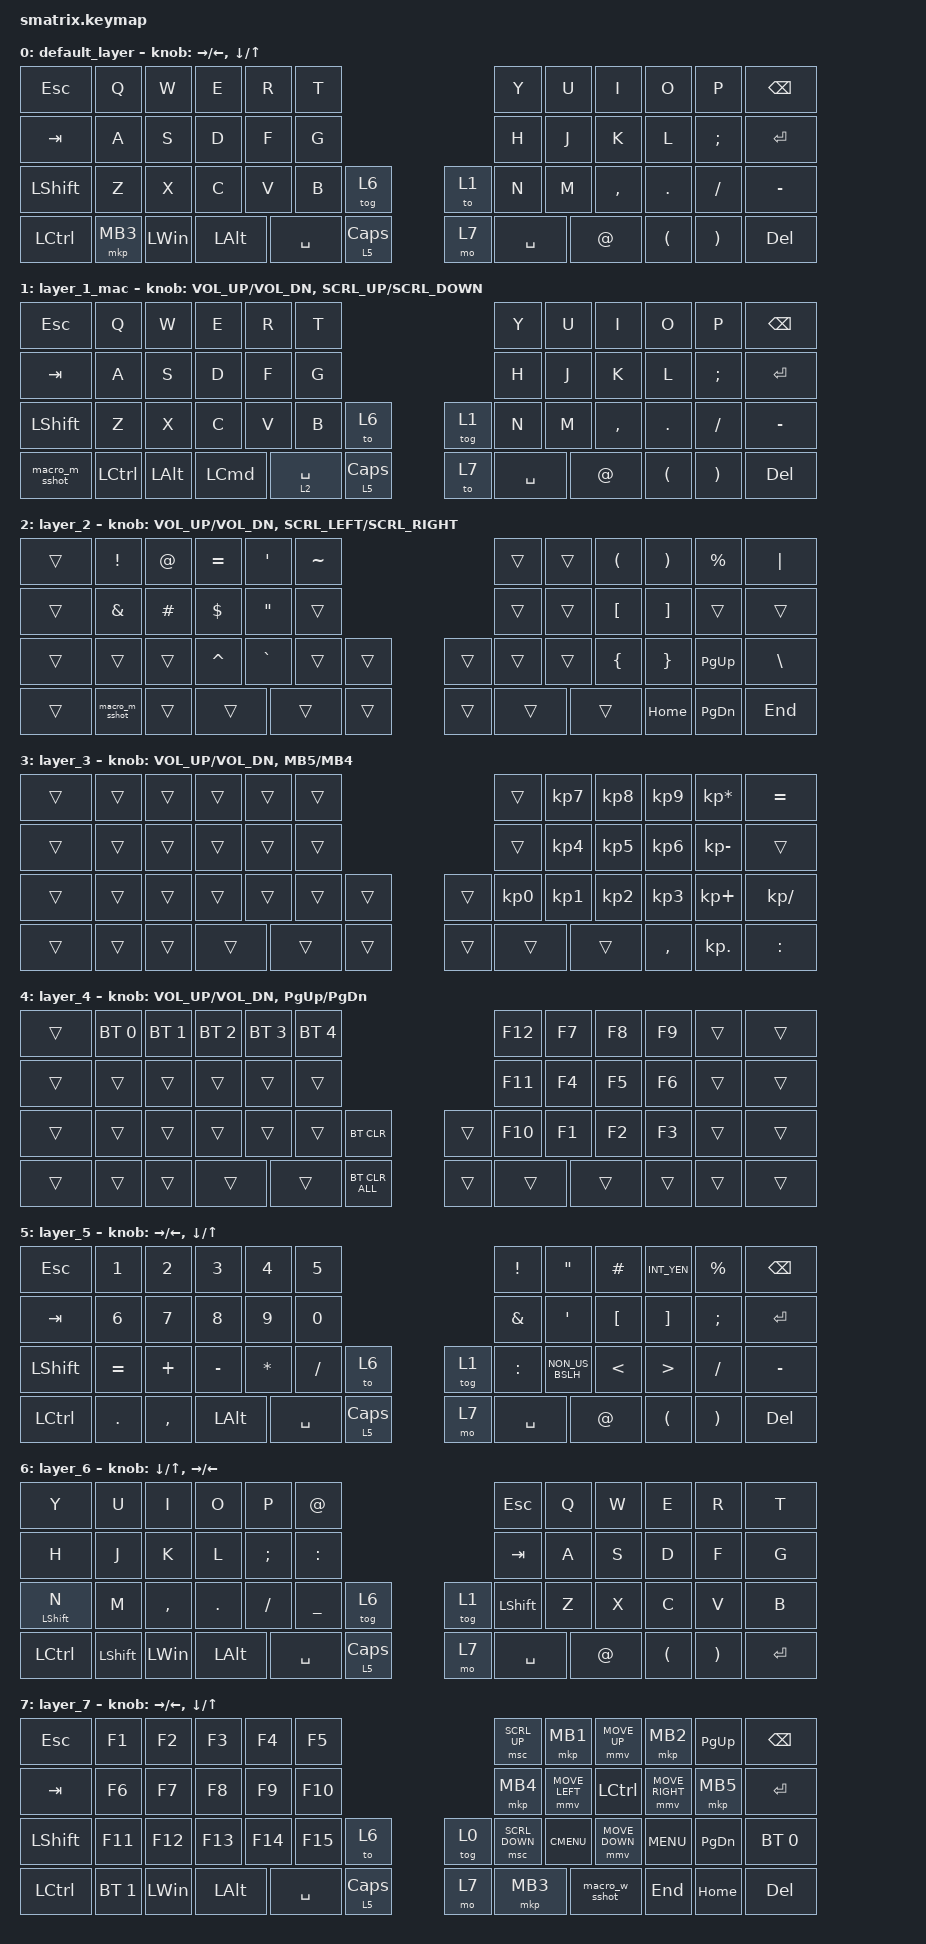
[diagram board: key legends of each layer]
#define ZMK_POINTING_DEFAULT_MOVE_VAL 800
#define ZMK_POINTING_DEFAULT_SCRL_VAL 120

#include <input/processors.dtsi>
#include <zephyr/dt-bindings/input/input-event-codes.h>
#include <behaviors.dtsi>
#include <dt-bindings/zmk/bt.h>
#include <dt-bindings/zmk/keys.h>
#include <dt-bindings/zmk/pointing.h>

&mt {
    flavor = "balanced";
    quick-tap-ms = <0>;
};

&msc {
    delay-ms = <0>;
    trigger-period-ms = <10>;
    time-to-max-speed-ms = <0>;
    acceleration-exponent = <0>;
};

/ {
    input_processors {
        zip_wheel_scaler: zip_wheel_scaler {
            compatible = "zmk,input-processor-scaler";
            #input-processor-cells = <2>;
            type = <INPUT_EV_REL>;
            codes = <INPUT_REL_WHEEL>;
            track-remainders;
        };
    };
};

&msc_input_listener {
    warp {
        layers = <0>;
        input-processors = <&zip_wheel_scaler 4 1>;
    };

    precision {
        layers = <1>;
        input-processors = <&zip_wheel_scaler 1 2>;
    };
};

/ {
    behaviors {
        rot_kp: sensor_rotate_kp {
            compatible = "zmk,behavior-sensor-rotate-var";
            #sensor-binding-cells = <2>;
            bindings = <&kp>, <&kp>;
        };

        mouse_click: mouse_button_kp {
            compatible = "zmk,behavior-sensor-rotate-var";
            #sensor-binding-cells = <2>;
            bindings = <&mkp>, <&mkp>;
        };

        mouse_scrl: mouse_wheel_scrl {
            compatible = "zmk,behavior-sensor-rotate-var";
            #sensor-binding-cells = <2>;
            bindings = <&msc>, <&msc>;

            tap-ms = <10>;
        };

        macro_w_sshot: macro_w_sshot {
            compatible = "zmk,behavior-macro";
            label = "Win Screenshot Macro";
            #binding-cells = <0>;
            bindings =
                <&macro_press>,
                <&kp LGUI &kp LSHFT>,
                <&macro_tap>,
                <&kp S>,
                <&macro_release>,
                <&kp LGUI &kp LSHFT>;
        };

        macro_m_sshot: macro_m_sshot {
            compatible = "zmk,behavior-macro";
            label = "Mac Screenshot Macro";
            #binding-cells = <0>;
            bindings =
                <&macro_press>,
                <&kp LGUI &kp LSHFT>,
                <&macro_tap>,
                <&kp N4>,
                <&macro_release>,
                <&kp LGUI &kp LSHFT>,
                <&macro_press>;
        };

        macro_w_TMute: macro_w_TMute {
            compatible = "zmk,behavior-macro";
            label = "Win Teams Mic Mute";
            #binding-cells = <0>;
            bindings =
                <&macro_press>,
                <&kp LGUI &kp LALT>,
                <&macro_tap>,
                <&kp K>,
                <&macro_release>,
                <&kp LGUI &kp LALT>;
        };
    };

    macros {
    };

    keymap {
        compatible = "zmk,keymap";

        default_layer {
            bindings = <
&kp ESC           &kp Q     &kp W         &kp E         &kp R      &kp T                        &kp Y  &kp U      &kp I        &kp O       &kp P                  &kp BACKSPACE
&kp TAB           &kp A     &kp S         &kp D         &kp F      &kp G                        &kp H  &kp J      &kp K        &kp L       &kp SEMI               &kp ENTER
&kp LSHFT         &kp Z     &kp X         &kp C         &kp V      &kp B       &tog 6    &to 1  &kp N  &kp M      &kp COMMA    &kp PERIOD  &kp SLASH              &kp MINUS
&kp LEFT_CONTROL  &mkp MB3  &kp LEFT_WIN  &kp LEFT_ALT  &kp SPACE  &lt 5 CAPS                   &mo 7  &kp SPACE  &kp AT_SIGN  &kp LPAR    &kp RIGHT_PARENTHESIS  &kp DELETE
            >;

            sensor-bindings =
                <&rot_kp RIGHT LEFT>,
                <&rot_kp DOWN_ARROW UP_ARROW>;
        };

        layer_1_mac {
            bindings = <
&kp ESCAPE      &kp Q             &kp W         &kp E             &kp R        &kp T                        &kp Y  &kp U      &kp I        &kp O                 &kp P                  &kp BACKSPACE
&kp TAB         &kp A             &kp S         &kp D             &kp F        &kp G                        &kp H  &kp J      &kp K        &kp L                 &kp SEMI               &kp ENTER
&kp LSHFT       &kp Z             &kp X         &kp C             &kp V        &kp B       &to 6    &tog 1  &kp N  &kp M      &kp COMMA    &kp PERIOD            &kp SLASH              &kp MINUS
&macro_m_sshot  &kp LEFT_CONTROL  &kp LEFT_ALT  &kp LEFT_COMMAND  &lt 2 SPACE  &lt 5 CLCK                   &to 7  &kp SPACE  &kp AT_SIGN  &kp LEFT_PARENTHESIS  &kp RIGHT_PARENTHESIS  &kp DEL
            >;

            sensor-bindings = <&rot_kp C_VOL_UP C_VOL_DN    &mouse_scrl SCRL_UP SCRL_DOWN>;
        };

        layer_2 {
            bindings = <
&trans  &kp EXCL        &kp AT    &kp EQUAL   &kp APOS   &kp TILDE                    &trans  &trans  &kp LPAR  &kp RPAR  &kp PERCENT  &kp PIPE
&trans  &kp AMPS        &kp HASH  &kp DOLLAR  &kp DQT    &trans                       &trans  &trans  &kp LBKT  &kp RBKT  &trans       &trans
&trans  &trans          &trans    &kp CARET   &kp GRAVE  &trans     &trans    &trans  &trans  &trans  &kp LBRC  &kp RBRC  &kp PG_UP    &kp BSLH
&trans  &macro_m_sshot  &trans    &trans      &trans     &trans                       &trans  &trans  &trans    &kp HOME  &kp PG_DN    &kp END
            >;

            sensor-bindings = <&rot_kp C_VOL_UP C_VOL_DN    &mouse_scrl SCRL_LEFT SCRL_RIGHT>;
        };

        layer_3 {
            bindings = <
&trans  &trans  &trans  &trans  &trans  &trans                    &trans     &kp KP_N7  &kp KP_N8  &kp KP_N9  &kp KP_ASTERISK  &kp EQUAL
&trans  &trans  &trans  &trans  &trans  &trans                    &trans     &kp KP_N4  &kp KP_N5  &kp KP_N6  &kp KP_MINUS     &trans
&trans  &trans  &trans  &trans  &trans  &trans  &trans    &trans  &kp KP_N0  &kp KP_N1  &kp KP_N2  &kp KP_N3  &kp KP_PLUS      &kp KP_SLASH
&trans  &trans  &trans  &trans  &trans  &trans                    &trans     &trans     &trans     &kp COMMA  &kp KP_DOT       &kp COLON
            >;

            sensor-bindings = <&rot_kp C_VOL_UP C_VOL_DN    &mouse_click MB5 MB4>;
        };

        layer_4 {
            bindings = <
&trans  &bt BT_SEL 0  &bt BT_SEL 1  &bt BT_SEL 2  &bt BT_SEL 3  &bt BT_SEL 4                          &kp F12  &kp F7  &kp F8  &kp F9  &trans  &trans
&trans  &trans        &trans        &trans        &trans        &trans                                &kp F11  &kp F4  &kp F5  &kp F6  &trans  &trans
&trans  &trans        &trans        &trans        &trans        &trans          &bt BT_CLR    &trans  &kp F10  &kp F1  &kp F2  &kp F3  &trans  &trans
&trans  &trans        &trans        &trans        &trans        &bt BT_CLR_ALL                        &trans   &trans  &trans  &trans  &trans  &trans
            >;

            sensor-bindings = <&rot_kp C_VOL_UP C_VOL_DN    &rot_kp PG_UP PG_DN>;
        };

        layer_5 {
            bindings = <
&kp ESCAPE        &kp N1        &kp NUMBER_2  &kp NUMBER_3  &kp NUMBER_4  &kp N5                       &kp EXCLAMATION  &kp DOUBLE_QUOTES  &kp HASH          &kp INT_YEN           &kp PERCENT            &kp BACKSPACE
&kp TAB           &kp NUMBER_6  &kp N7        &kp N8        &kp N9        &kp N0                       &kp AMPERSAND    &kp SQT            &kp LEFT_BRACKET  &kp RIGHT_BRACKET     &kp SEMI               &kp ENTER
&kp LEFT_SHIFT    &kp EQUAL     &kp PLUS      &kp MINUS     &kp ASTERISK  &kp SLASH   &to 6    &tog 1  &kp COLON        &kp NON_US_BSLH    &kp LESS_THAN     &kp GREATER_THAN      &kp FSLH               &kp MINUS
&kp LEFT_CONTROL  &kp PERIOD    &kp COMMA     &kp LEFT_ALT  &kp SPACE     &lt 5 CLCK                   &mo 7            &kp SPACE          &kp AT            &kp LEFT_PARENTHESIS  &kp RIGHT_PARENTHESIS  &kp DELETE
            >;

            sensor-bindings =
                <&rot_kp RIGHT LEFT>,
                <&rot_kp DOWN_ARROW UP_ARROW>;
        };

        layer_6 {
            bindings = <
&kp Y             &kp U           &kp I         &kp O         &kp P          &kp AT_SIGN                       &kp ESCAPE      &kp Q      &kp W   &kp E                 &kp R                  &kp T
&kp H             &kp J           &kp K         &kp L         &kp SEMICOLON  &kp COLON                         &kp TAB         &kp A      &kp S   &kp D                 &kp F                  &kp G
&mt LSHIFT N      &kp M           &kp COMMA     &kp PERIOD    &kp SLASH      &kp UNDERSCORE  &tog 6    &tog 1  &kp LEFT_SHIFT  &kp Z      &kp X   &kp C                 &kp V                  &kp B
&kp LEFT_CONTROL  &kp LEFT_SHIFT  &kp LEFT_WIN  &kp LEFT_ALT  &kp SPACE      &lt 5 CAPS                        &mo 7           &kp SPACE  &kp AT  &kp LEFT_PARENTHESIS  &kp RIGHT_PARENTHESIS  &kp ENTER
            >;

            sensor-bindings =
                <&rot_kp DOWN_ARROW UP_ARROW>,
                <&inc_dec_kp RIGHT LEFT>;
        };

        layer_7 {
            bindings = <
&kp ESC    &kp F1        &kp F2        &kp F3    &kp F4     &kp F5                       &msc SCRL_UP    &mkp MB1        &mmv MOVE_UP      &mkp MB2         &kp PG_UP      &kp BACKSPACE
&kp TAB    &kp F6        &kp F7        &kp F8    &kp F9     &kp F10                      &mkp MB4        &mmv MOVE_LEFT  &kp LEFT_CONTROL  &mmv MOVE_RIGHT  &mkp MB5       &kp ENTER
&kp LSHFT  &kp F11       &kp F12       &kp F13   &kp F14    &kp F15     &to 6    &tog 0  &msc SCRL_DOWN  &kp K_CMENU     &mmv MOVE_DOWN    &kp C_MENU       &kp PAGE_DOWN  &bt BT_SEL 0
&kp LCTRL  &bt BT_SEL 1  &kp LEFT_WIN  &kp LALT  &kp SPACE  &lt 5 CLCK                   &mo 7           &mkp MB3        &macro_w_sshot    &kp END          &kp HOME       &kp DEL
            >;

            sensor-bindings = <&rot_kp RIGHT LEFT>, <&rot_kp DOWN UP_ARROW>;
        };
    };
};
